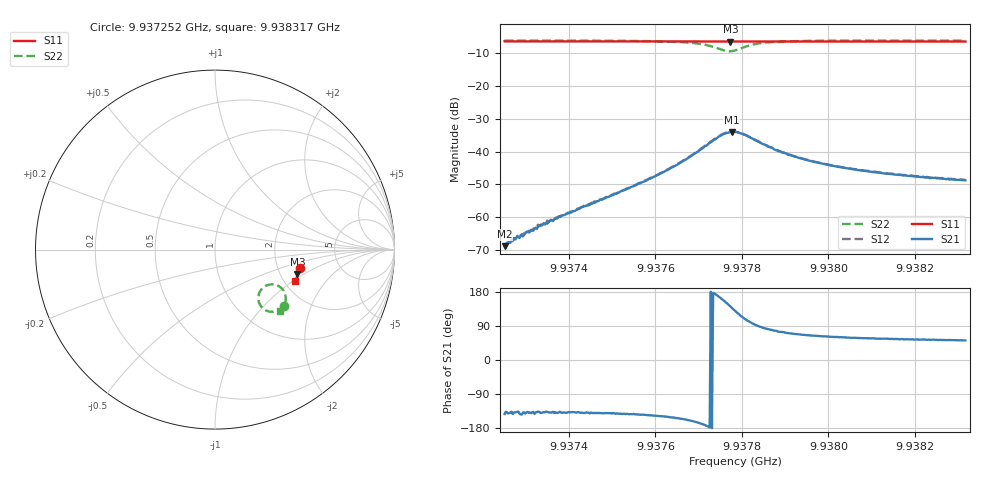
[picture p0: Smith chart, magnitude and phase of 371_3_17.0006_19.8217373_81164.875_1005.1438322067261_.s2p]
#  HZ  S  RI  R  50.00
! Rohde & Schwarz Vector Network Analyzer
! Rohde-Schwarz,ZNB20-2Port,1311601062101988,3.16
! Created: UTC 3/20/2024, 11:08:45 PM
! freq[Hz]  re:S11  im:S11  re:S21  im:S21  re:S12  im:S12  re:S22  im:S22
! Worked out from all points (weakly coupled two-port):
!   401 points, 9.937252 GHz to 9.938317 GHz, reference 50 ohm
!   highest |S21| = -33.97 dB at 9.937776 GHz (marker M1); lowest = -68.9 dB at 9.937252 GHz (marker M2)
!   lowest |S11| = -6.4 dB at 9.937774 GHz (marker M3), VSWR 2.84, Z = 123 - j44.3 ohm
!   |S11| at or under -10 dB: nowhere
!   |S22| runs from -9.4 to -6.1 dB; largest |S21 - S12| = 0.00095
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9.9372517e9  0.4722 -0.1052  -0.000285 -0.00022  -0.000291 -0.000226  0.3871 -0.3135
9.9372756e9  0.4717 -0.1066  -0.000355 -0.000319  -0.00035 -0.000292  0.3853 -0.3153
9.9372916e9  0.4714 -0.1078  -0.000414 -0.000305  -0.000414 -0.000361  0.3842 -0.3163
9.9372969e9  0.4714 -0.108  -0.000403 -0.000358  -0.000432 -0.000368  0.3839 -0.3166
9.9373182e9  0.4708 -0.1095  -0.000453 -0.000423  -0.000509 -0.000435  0.382 -0.318
9.9373315e9  0.4706 -0.1105  -0.000531 -0.000496  -0.000557 -0.000476  0.381 -0.3192
9.93743e9  0.4685 -0.117  -0.00108 -0.00095  -0.00108 -0.000927  0.3719 -0.3268
9.9375126e9  0.4667 -0.1225  -0.00182 -0.00146  -0.00186 -0.00144  0.3613 -0.334
9.9376084e9  0.4643 -0.129  -0.00381 -0.00237  -0.00391 -0.00236  0.3398 -0.3435
9.9376644e9  0.4627 -0.1329  -0.00654 -0.00296  -0.0067 -0.00286  0.3147 -0.3463
9.9377123e9  0.4609 -0.1359  -0.0115 -0.00187  -0.0118 -0.00169  0.2749 -0.3332
9.9377496e9  0.4593 -0.1377  -0.0166 0.00446  -0.017 0.00498  0.2417 -0.277
9.9377735e9  0.4586 -0.1384  -0.0154 0.0124  -0.0153 0.0131  0.2626 -0.2172
9.9377762e9  0.4589 -0.1384  -0.0149 0.0133  -0.0148 0.0137  0.2683 -0.2117
9.9377842e9  0.4588 -0.1386  -0.0128 0.0153  -0.0124 0.0159  0.2878 -0.1996
9.9378055e9  0.4591 -0.1394  -0.00604 0.017  -0.00588 0.0175  0.3408 -0.1972
9.9378401e9  0.459 -0.142  0.000324 0.014  0.000571 0.0141  0.3842 -0.2327
9.937888e9  0.4583 -0.1455  0.0028 0.00979  0.00287 0.00975  0.3943 -0.2714
9.9379626e9  0.4565 -0.1508  0.00308 0.00641  0.00321 0.00642  0.3887 -0.3011
9.9380424e9  0.4545 -0.1559  0.00286 0.0048  0.00299 0.0048  0.3806 -0.3171
9.9381409e9  0.4519 -0.1623  0.00259 0.00378  0.00266 0.00376  0.372 -0.3292
9.9383167e9  0.4469 -0.1735  0.00226 0.00286  0.00234 0.00289  0.3594 -0.3435
